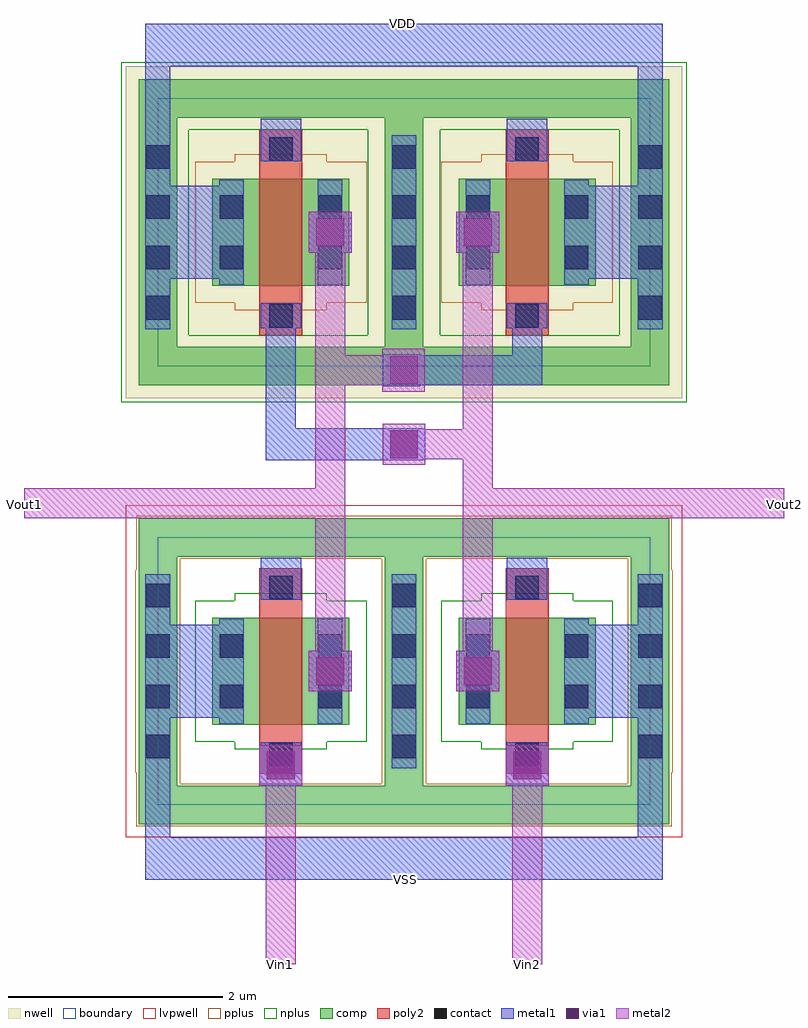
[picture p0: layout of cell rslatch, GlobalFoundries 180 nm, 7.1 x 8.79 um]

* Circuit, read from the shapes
.subckt rslatch VDD VSS Vin1 Vin2 Vout1 Vout2
XM1 Vout1 Vin1 VSS VSS nfet_03v3 w=1u l=0.4u
XM2 VSS Vin2 Vout2 VSS nfet_03v3 w=1u l=0.4u
XM3 Vout1 Vout2 VDD VDD pfet_03v3 w=1u l=0.4u
XM4 VDD Vout1 Vout2 VDD pfet_03v3 w=1u l=0.4u
.ends

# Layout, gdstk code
import gdstk
lib = gdstk.Library(unit=1e-6, precision=1e-09)
def R(c, l, rs):  # rectangles x0, y0, x1, y1
    for r in rs: c.add(gdstk.rectangle(r[:2], r[2:], *l))
def A(c, l, x, y, w, h, nx, ny, dx, dy):  # array of equal rectangles
    R(c, l, [(x+i*dx, y+j*dy, x+i*dx+w, y+j*dy+h) for i in range(nx) for j in range(ny)])
boundary = (0, 0)
nwell = (21, 0)
comp = (22, 0)
poly2 = (30, 0)
pplus = (31, 0)
nplus = (32, 0)
contact = (33, 0)
metal1 = (34, 0)
via1 = (35, 0)
metal2 = (36, 0)
lvpwell = (204, 0)

pfet_03v3_l25d84 = lib.new_cell('pfet_03v3_L25D84')
R(pfet_03v3_l25d84, boundary, [(-1.15,-1.25,1.15,1.25)])
R(pfet_03v3_l25d84, nwell, [(-1.45,-1.55,1.45,1.55)])
R(pfet_03v3_l25d84, comp, [(-1.33,-1.43,1.33,-1.07), (-1.33,-1.07,-0.97,1.07), (0.97,-1.07,1.33,1.07), (-0.64,-0.5,0.64,0.5), (-1.33,1.07,1.33,1.43)])
R(pfet_03v3_l25d84, poly2, [(-0.2,-0.96,0.2,0.96)])
R(pfet_03v3_l25d84, pplus, [(-0.43,-0.73,0.43,-0.66), (-0.8,-0.66,0.8,0.66), (-0.43,0.66,0.43,0.73)])
R(pfet_03v3_l25d84, nplus, [(-1.49,-1.59,1.49,-0.96), (-1.49,-0.96,-0.86,0.96), (0.86,-0.96,1.49,0.96), (-1.49,0.96,1.49,1.59)])
A(pfet_03v3_l25d84, contact, -1.26, -0.815, 0.22, 0.22, 1, 4, 0, 0.47)
A(pfet_03v3_l25d84, contact, 1.04, -0.815, 0.22, 0.22, 1, 4, 0, 0.47)
R(pfet_03v3_l25d84, contact, [(-0.11,-0.89,0.11,-0.67), (-0.57,-0.345,-0.35,-0.125), (0.35,-0.345,0.57,-0.125), (-0.57,0.125,-0.35,0.345), (0.35,0.125,0.57,0.345), (-0.11,0.67,0.11,0.89)])
R(pfet_03v3_l25d84, metal1, [(-1.265,-0.905,-1.035,0.905), (1.035,-0.905,1.265,0.905), (-0.19,-0.895,0.19,-0.665), (-0.575,-0.49,-0.345,0.49), (0.345,-0.49,0.575,0.49), (-0.19,0.665,0.19,0.895)])

nfet_03v3_ektwup = lib.new_cell('nfet_03v3_EKTWUP')
R(nfet_03v3_ektwup, boundary, [(-1.15,-1.25,1.15,1.25)])
R(nfet_03v3_ektwup, comp, [(-1.33,-1.43,1.33,-1.07), (-1.33,-1.07,-0.97,1.07), (0.97,-1.07,1.33,1.07), (-0.64,-0.5,0.64,0.5), (-1.33,1.07,1.33,1.43)])
R(nfet_03v3_ektwup, poly2, [(-0.2,-0.96,0.2,0.96)])
R(nfet_03v3_ektwup, pplus, [(-1.35,-1.45,1.35,-1.05), (-1.35,-1.05,-0.94,-0.945), (0.94,-1.05,1.35,-0.945), (-1.36,-0.945,-0.94,0.945), (0.94,-0.945,1.36,0.945), (-1.35,0.945,-0.94,1.05), (0.94,0.945,1.35,1.05), (-1.35,1.05,1.35,1.45)])
R(nfet_03v3_ektwup, nplus, [(-0.43,-0.73,0.43,-0.66), (-0.8,-0.66,0.8,0.66), (-0.43,0.66,0.43,0.73)])
A(nfet_03v3_ektwup, contact, -1.26, -0.815, 0.22, 0.22, 1, 4, 0, 0.47)
A(nfet_03v3_ektwup, contact, 1.04, -0.815, 0.22, 0.22, 1, 4, 0, 0.47)
R(nfet_03v3_ektwup, contact, [(-0.11,-0.89,0.11,-0.67), (-0.57,-0.345,-0.35,-0.125), (0.35,-0.345,0.57,-0.125), (-0.57,0.125,-0.35,0.345), (0.35,0.125,0.57,0.345), (-0.11,0.67,0.11,0.89)])
R(nfet_03v3_ektwup, metal1, [(-1.265,-0.905,-1.035,0.905), (1.035,-0.905,1.265,0.905), (-0.19,-0.895,0.19,-0.665), (-0.575,-0.49,-0.345,0.49), (0.345,-0.49,0.575,0.49), (-0.19,0.665,0.19,0.895)])
R(nfet_03v3_ektwup, lvpwell, [(-1.45,-1.55,1.45,1.55)])

rslatch = lib.new_cell('rslatch')
R(rslatch, metal1, [(10.485,-10.1,15.315,-9.7), (10.485,-9.7,10.715,-9), (15.085,-9.7,15.315,-9), (11.55,-9.22,11.95,-8.84), (13.85,-9.22,14.25,-8.84), (10.68,-8.585,11.21,-7.715), (14.575,-8.585,15.105,-7.715), (12.01,-8.34,12.41,-7.96), (13.39,-8.34,13.79,-7.96), (11.56,-7.255,11.94,-7.09), (13.86,-7.255,14.24,-7.09), (11.61,-6.18,13.1,-5.88), (11.61,-5.88,11.89,-4.945), (12.7,-5.49,13.05,-5.48), (12.7,-5.48,14.19,-5.2), (12.7,-5.2,13.05,-5.19), (13.91,-5.2,14.19,-4.945), (10.65,-4.485,11.18,-3.615), (14.62,-4.485,15.15,-3.615), (12.01,-4.24,12.41,-3.86), (13.39,-4.24,13.79,-3.86), (11.56,-3.155,11.94,-2.99), (13.86,-3.155,14.24,-2.99), (10.485,-3.145,10.715,-2.5), (15.085,-3.145,15.315,-2.5), (10.485,-2.5,15.315,-2.1)])
R(rslatch, via1, [(11.62,-9.16,11.88,-8.9), (13.92,-9.16,14.18,-8.9), (12.08,-8.28,12.34,-8.02), (13.46,-8.28,13.72,-8.02), (12.77,-6.16,13.03,-5.9), (12.77,-5.47,13.03,-5.21), (12.08,-4.18,12.34,-3.92), (13.46,-4.18,13.72,-3.92)])
R(rslatch, metal2, [(11.61,-10.89,11.89,-9.22), (13.91,-10.89,14.19,-9.22), (11.55,-9.22,11.95,-8.84), (13.85,-9.22,14.25,-8.84), (12.01,-8.34,12.41,-7.96), (13.39,-8.34,13.79,-7.96), (12.07,-7.96,12.35,-6.72), (13.45,-7.96,13.73,-6.72), (9.35,-6.72,12.35,-6.44), (13.45,-6.72,16.45,-6.44), (12.07,-6.44,12.35,-5.48), (13.45,-6.44,13.73,-6.17), (12.7,-6.22,13.1,-6.17), (12.7,-6.17,13.73,-5.89), (12.7,-5.89,13.1,-5.84), (13.45,-5.89,13.73,-4.24), (12.695,-5.54,13.095,-5.48), (12.07,-5.48,13.095,-5.2), (12.07,-5.2,12.35,-4.24), (12.695,-5.2,13.095,-5.14), (12.01,-4.24,12.41,-3.86), (13.39,-4.24,13.79,-3.86)])
rslatch.add(gdstk.Reference(pfet_03v3_l25d84, (14.05,-4.05)))
rslatch.add(gdstk.Reference(nfet_03v3_ektwup, (11.75,-8.15)))
rslatch.add(gdstk.Reference(pfet_03v3_l25d84, (11.75,-4.05)))
rslatch.add(gdstk.Reference(nfet_03v3_ektwup, (14.05,-8.15)))
rslatch.add(gdstk.Label('VDD', (12.89,-2.1), layer=34, texttype=10))
rslatch.add(gdstk.Label('Vout1', (9.35,-6.59), layer=36, texttype=10))
rslatch.add(gdstk.Label('Vout2', (16.45,-6.59), layer=36, texttype=10))
rslatch.add(gdstk.Label('Vin1', (11.75,-10.89), layer=36, texttype=10))
rslatch.add(gdstk.Label('Vin2', (14.055,-10.89), layer=36, texttype=10))
rslatch.add(gdstk.Label('VSS', (12.915,-10.1), layer=34, texttype=10))

lib.write_gds('rslatch.gds')
